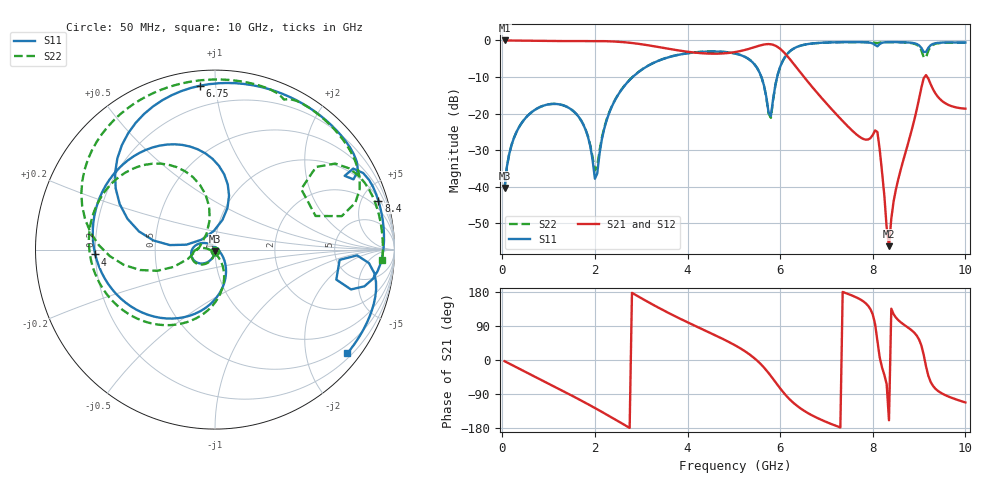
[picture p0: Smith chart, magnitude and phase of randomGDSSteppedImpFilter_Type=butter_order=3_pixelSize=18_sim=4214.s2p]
! freq	dB(S11)	phase(S11)	dB(S12)	phase(S12)
!  dB(S21)	phase(S21)	dB(S22)	phase(S22)
!S-par simulation data
#  GHz  S  DB  R 50
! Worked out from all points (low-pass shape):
!   200 points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, 50 MHz to 10 GHz, reference 50 ohm
!   highest |S21| = -0.01 dB at 50 MHz (marker M1); lowest = -56.2 dB at 8.35 GHz (marker M2)
!   |S21| within 3 dB of the highest: start of sweep to 3.951 GHz; 5.101 GHz to 6.061 GHz (961 MHz wide, 17.2 % of centre)
!   lowest |S11| = -40.3 dB at 50 MHz (marker M3), VSWR 1.02, Z = 50 - j0.962 ohm
!   |S11| at or under -10 dB: start of sweep to 2.815 GHz; 5.595 GHz to 5.936 GHz (340.6 MHz wide, 5.91 % of centre)
!   |S22| runs from -40.3 to -0.5 dB; largest |S21 - S12| = 0
!   S11 on the Smith chart (normalised r, x): 50 MHz: 1.00, -0.02; 4 GHz: 0.20, -0.02; 6.75 GHz: 0.08, +0.91; 8.4 GHz: 1.18, +6.62; 10 GHz: 0.30, -2.86
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0.05  -40.32 -91.7  -0.01 -3.2  -0.01 -3.2  -40.32 -91.4
0.25  -26.69 -106.4  -0.03 -15.8  -0.03 -15.8  -26.68 -104.9
0.65  -19.44 -133.3  -0.10 -40.8  -0.10 -40.8  -19.43 -129.1
1.75  -22.98 148.5  -0.16 -110.0  -0.16 -110.0  -22.94 172.6
2  -37.79 76.0  -0.16 -126.6  -0.16 -126.6  -35.46 -142.9
2.45  -15.95 -68.0  -0.32 -157.9  -0.32 -157.9  -15.87 -71.5
3.4  -5.41 -139.2  -1.86 136.3  -1.86 136.3  -5.38 -129.9
4  -3.51 -177.7  -3.09 99.5  -3.09 99.5  -3.48 -163.8
5.05  -3.65 118.2  -3.13 37.2  -3.13 37.2  -3.63 139.3
5.55  -8.63 79.0  -1.43 -7.0  -1.43 -7.0  -8.62 103.1
5.8  -20.61 143.6  -1.05 -42.2  -1.05 -42.2  -21.15 170.9
6.1  -4.60 154.4  -3.50 -89.9  -3.50 -89.9  -4.63 -176.4
6.7  -0.82 98.6  -12.83 -146.8  -12.83 -146.8  -0.83 131.1
6.75  -0.75 95.3  -13.58 -149.9  -13.58 -149.9  -0.77 128.0
7.75  -0.47 42.0  -26.62 158.4  -26.62 158.4  -0.46 79.3
8.1  -1.61 29.6  -25.02 49.7  -25.02 49.7  -0.72 65.3
8.35  -0.45 19.1  -56.20 -159.2  -56.20 -159.2  -0.46 54.5
8.4  -0.44 16.7  -48.71 135.3  -48.71 135.3  -0.47 52.2
8.95  -0.97 -10.6  -18.86 64.3  -18.86 64.3  -1.17 22.7
9.1  -3.15 -13.9  -10.30 13.6  -10.30 13.6  -4.57 18.5
9.25  -1.30 -5.0  -11.95 -57.8  -11.95 -57.8  -1.69 35.6
10  -0.57 -38.1  -18.64 -112.0  -18.64 -112.0  -0.59 -3.7
